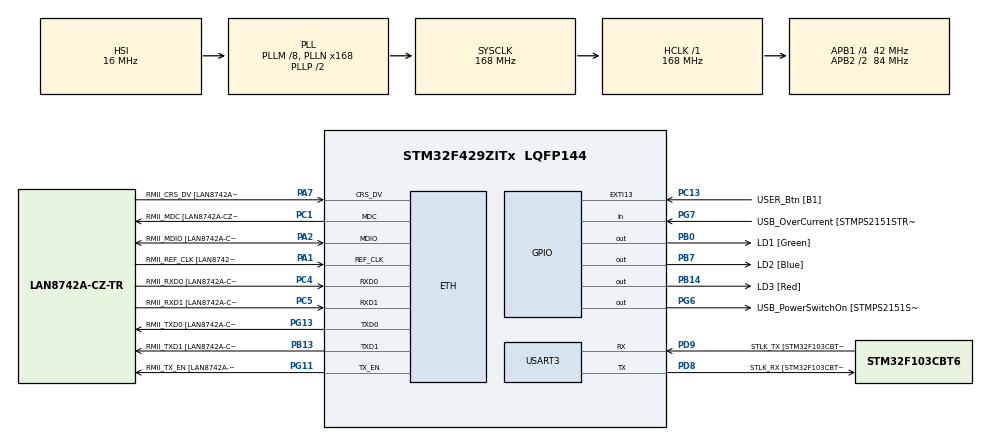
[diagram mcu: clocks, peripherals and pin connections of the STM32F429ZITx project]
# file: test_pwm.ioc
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ETH.MediaInterface=HAL_ETH_RMII_MODE
ETH.PHY_Name=LAN8742A_PHY_ADDRESS
ETH.PHY_Value=0
ETH.PhyAddress=0
Mcu.Family=STM32F4
Mcu.Name=STM32F429ZITx
Mcu.Package=LQFP144
NVIC.PriorityGroup=NVIC_PRIORITYGROUP_4
PA1.GPIO_Label=RMII_REF_CLK [LAN8742A-CZ-TR_REFCLK0]
PA1.Mode=RMII
PA1.Signal=ETH_REF_CLK
PA10.GPIO_Label=USB_ID
PA10.Signal=USB_OTG_FS_ID
PA11.GPIO_Label=USB_DM
PA11.Signal=USB_OTG_FS_DM
PA12.GPIO_Label=USB_DP
PA12.Signal=USB_OTG_FS_DP
PA13.GPIO_Label=TMS
PA13.Mode=Serial_Wire
PA13.Signal=SYS_JTMS-SWDIO
PA14.GPIO_Label=TCK
PA14.Mode=Serial_Wire
PA14.Signal=SYS_JTCK-SWCLK
PA2.GPIO_Label=RMII_MDIO [LAN8742A-CZ-TR_MDIO]
PA2.Mode=RMII
PA2.Signal=ETH_MDIO
PA7.GPIO_Label=RMII_CRS_DV [LAN8742A-CZ-TR_CRS_DV]
PA7.Mode=RMII
PA7.Signal=ETH_CRS_DV
PA8.GPIO_Label=USB_SOF [TP1]
PA8.Signal=USB_OTG_FS_SOF
PA9.GPIO_Label=USB_VBUS
PA9.Signal=USB_OTG_FS_VBUS
PB0.GPIO_Label=LD1 [Green]
PB0.Signal=GPIO_Output
PB13.GPIO_Label=RMII_TXD1 [LAN8742A-CZ-TR_TXD1]
PB13.Mode=RMII
PB13.Signal=ETH_TXD1
PB14.GPIO_Label=LD3 [Red]
PB14.Signal=GPIO_Output
PB7.GPIO_Label=LD2 [Blue]
PB7.Signal=GPIO_Output
PC1.GPIO_Label=RMII_MDC [LAN8742A-CZ-TR_MDC]
PC1.Mode=RMII
PC1.Signal=ETH_MDC
PC13.GPIO_Label=USER_Btn [B1]
PC13.Signal=GPXTI13
PC14/OSC32_IN.Mode=LSE-External-Oscillator
PC14/OSC32_IN.Signal=RCC_OSC32_IN
PC15/OSC32_OUT.Mode=LSE-External-Oscillator
PC15/OSC32_OUT.Signal=RCC_OSC32_OUT
PC4.GPIO_Label=RMII_RXD0 [LAN8742A-CZ-TR_RXD0]
PC4.Mode=RMII
PC4.Signal=ETH_RXD0
PC5.GPIO_Label=RMII_RXD1 [LAN8742A-CZ-TR_RXD1]
PC5.Mode=RMII
PC5.Signal=ETH_RXD1
PD8.GPIO_Label=STLK_RX [STM32F103CBT6_PA3]
PD8.Mode=Asynchronous
PD8.Signal=USART3_TX
PD9.GPIO_Label=STLK_TX [STM32F103CBT6_PA2]
PD9.Mode=Asynchronous
PD9.Signal=USART3_RX
PG11.GPIO_Label=RMII_TX_EN [LAN8742A-CZ-TR_TXEN]
PG11.Mode=RMII
PG11.Signal=ETH_TX_EN
PG13.GPIO_Label=RMII_TXD0 [LAN8742A-CZ-TR_TXD0]
PG13.Mode=RMII
PG13.Signal=ETH_TXD0
PG6.GPIO_Label=USB_PowerSwitchOn [STMPS2151STR_EN]
PG6.Signal=GPIO_Output
PG7.GPIO_Label=USB_OverCurrent [STMPS2151STR_FAULT]
PG7.Signal=GPIO_Input
PH0/OSC_IN.GPIO_Label=MCO [STM32F103CBT6_PA8]
PH0/OSC_IN.Mode=HSE-External-Clock-Source
PH0/OSC_IN.Signal=RCC_OSC_IN
PH1/OSC_OUT.Mode=HSE-External-Clock-Source
PH1/OSC_OUT.Signal=RCC_OSC_OUT
ProjectManager.HeapSize=0x200
ProjectManager.StackSize=0x400
ProjectManager.TargetToolchain=STM32CubeIDE
RCC.48MHZClocksFreq_Value=48000000
RCC.AHBFreq_Value=168000000
RCC.APB1CLKDivider=RCC_HCLK_DIV4
RCC.APB1Freq_Value=42000000
RCC.APB1TimFreq_Value=84000000
RCC.APB2CLKDivider=RCC_HCLK_DIV2
RCC.APB2Freq_Value=84000000
RCC.APB2TimCLKDivider=2
RCC.APB2TimFreq_Value=168000000
RCC.CortexFreq_Value=168000000
RCC.HCLKFreq_Value=168000000
RCC.HSE_VALUE=8000000
RCC.HSI_VALUE=16000000
RCC.PLLM=8
RCC.PLLMUL=RCC_PLL_MUL9
RCC.PLLN=168
RCC.PLLQ=7
RCC.PRESCALERUSB=RCC_USBCLKSOURCE_PLL_DIV1_5
RCC.SYSCLKFreq_VALUE=168000000
RCC.SYSCLKSource=RCC_SYSCLKSOURCE_PLLCLK
RCC.SYSCLKSourceVirtual=RCC_SYSCLKSOURCE_PLLCLK
RCC.USBFreq_Value=48000000
RCC.VCOOutputFreq_Value=336000000
USART3.VirtualMode=VM_ASYNC
board=NUCLEO-F429ZI

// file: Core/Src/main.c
/* USER CODE BEGIN Header */
/**
  ******************************************************************************
  * @file           : main.c
  * @brief          : Main program body
  ******************************************************************************
  * @attention
  *
  * Copyright (c) 2026 STMicroelectronics.
  * All rights reserved.
  *
  * This software is licensed under terms that can be found in the LICENSE file
  * in the root directory of this software component.
  * If no LICENSE file comes with this software, it is provided AS-IS.
  *
  ******************************************************************************
  */
/* USER CODE END Header */
#include "main.h"
#include "string.h"
#include "uart.h"

ETH_TxPacketConfig TxConfig;
ETH_DMADescTypeDef  DMARxDscrTab[ETH_RX_DESC_CNT]; /* Ethernet Rx DMA Descriptors */
ETH_DMADescTypeDef  DMATxDscrTab[ETH_TX_DESC_CNT]; /* Ethernet Tx DMA Descriptors */

ETH_HandleTypeDef heth;

UART_HandleTypeDef huart3;

void SystemClock_Config(void);
static void MX_GPIO_Init(void);
static void MX_ETH_Init(void);
static void MX_USART3_UART_Init(void);

/* USER CODE BEGIN 0 */
// GPIO: PB15
void Fan_GPIO_Init(void)
{
    // GPIOB clock enable
    RCC->AHB1ENR |= RCC_AHB1ENR_GPIOBEN;

    // PB15 output mode
    GPIOB->MODER &= ~(0x3 << (15 * 2));
    GPIOB->MODER |=  (0x1 << (15 * 2));

    // push-pull
    GPIOB->OTYPER &= ~(1 << 15);
}

// PWM GPIO: PA3 (TIM9_CH2)
void Fan_PWM_GPIO_Init(void)
{
    RCC->AHB1ENR |= RCC_AHB1ENR_GPIOAEN;

    // PA3 AF mode
    GPIOA->MODER &= ~(0x3 << (3 * 2));
    GPIOA->MODER |=  (0x2 << (3 * 2));

    // AF3 = TIM9
    GPIOA->AFR[0] &= ~(0xF << (3 * 4));
    GPIOA->AFR[0] |=  (0x3 << (3 * 4));
}

// TIM9 PWM INIT (CH2)
void Fan_PWM_Init(void)
{
    RCC->APB2ENR |= RCC_APB2ENR_TIM9EN;

    TIM9->CR1 &= ~TIM_CR1_CEN;

    TIM9->PSC = 84 - 1;   // 타이머 입력 168MHz -> 2kHz로 만듦
    TIM9->ARR = 1000 - 1;    // 0~1000 duty

    TIM9->CNT = 0;

    // CH2 PWM mode
    TIM9->CCMR1 &= ~(TIM_CCMR1_CC2S);
    TIM9->CCMR1 &= ~(0x7 << 12);
    TIM9->CCMR1 |=  (0x6 << 12);  // PWM mode 1

    TIM9->CCMR1 |= TIM_CCMR1_OC2PE;

    // polarity
    TIM9->CCER &= ~TIM_CCER_CC2P;

    // enable output
    TIM9->CCER |= TIM_CCER_CC2E;

    TIM9->EGR |= TIM_EGR_UG;

    TIM9->CR1 |= TIM_CR1_CEN;
}

// INIT ALL
void Fan_Init(void)
{
    Fan_GPIO_Init();
    Fan_PWM_GPIO_Init();
    Fan_PWM_Init();

    // direction default
    GPIOB->BSRR = (1 << (15 + 16)); // PB15 = 0
}

// SPEED CONTROL
void Fan_SetDuty(uint16_t duty)
{
        static uint32_t prev_tick = 0;

        if (duty > 1000)
            duty = 1000;

        TIM9->CCR2 = duty;

        if (HAL_GetTick() - prev_tick >= 1000)
        {
            prev_tick = HAL_GetTick();

            UART3_Printf("[Fan]     PWM = %3d%%\r\n", duty * 100 / 1000);
        }
}

// OPTIONAL CONTROL
void Fan_On(void)
{
    TIM9->CCR2 = 1000;  // Fan_SetDuty(1000);
    GPIOB->BSRR = (1 << 15); // PB15 = High -> 따로 추가됨
}

void Fan_Off(void)
{
    TIM9->CCR2 = 0;  // Fan_SetDuty(0);
    GPIOB->BSRR = (1 << (15 + 16));  // PB15 = LOW
}
/* USER CODE END 0 */

int main(void)
{

  /* MCU Configuration--------------------------------------------------------*/

  /* Reset of all peripherals, Initializes the Flash interface and the Systick. */
  HAL_Init();

  /* Configure the system clock */
  SystemClock_Config();

  /* Initialize all configured peripherals */
  MX_GPIO_Init();
  MX_ETH_Init();
  MX_USART3_UART_Init();
  /* USER CODE BEGIN 2 */
  Fan_Init();
  Fan_SetDuty(500);
  /* USER CODE END 2 */

  /* Infinite loop */
  while (1)
  {

  }
}

void SystemClock_Config(void)
{
  RCC_OscInitTypeDef RCC_OscInitStruct = {0};
  RCC_ClkInitTypeDef RCC_ClkInitStruct = {0};

  /** Configure the main internal regulator output voltage
  */
  __HAL_RCC_PWR_CLK_ENABLE();
  __HAL_PWR_VOLTAGESCALING_CONFIG(PWR_REGULATOR_VOLTAGE_SCALE1);

  /** Initializes the RCC Oscillators according to the specified parameters
  * in the RCC_OscInitTypeDef structure.
  */
  RCC_OscInitStruct.OscillatorType = RCC_OSCILLATORTYPE_HSI;
  RCC_OscInitStruct.HSIState = RCC_HSI_ON;
  RCC_OscInitStruct.HSICalibrationValue = RCC_HSICALIBRATION_DEFAULT;
  RCC_OscInitStruct.PLL.PLLState = RCC_PLL_ON;
  RCC_OscInitStruct.PLL.PLLSource = RCC_PLLSOURCE_HSI;
  RCC_OscInitStruct.PLL.PLLM = 8;
  RCC_OscInitStruct.PLL.PLLN = 168;
  RCC_OscInitStruct.PLL.PLLP = RCC_PLLP_DIV2;
  RCC_OscInitStruct.PLL.PLLQ = 7;
  if (HAL_RCC_OscConfig(&RCC_OscInitStruct) != HAL_OK)
  {
    Error_Handler();
  }

  /** Initializes the CPU, AHB and APB buses clocks
  */
  RCC_ClkInitStruct.ClockType = RCC_CLOCKTYPE_HCLK|RCC_CLOCKTYPE_SYSCLK
                              |RCC_CLOCKTYPE_PCLK1|RCC_CLOCKTYPE_PCLK2;
  RCC_ClkInitStruct.SYSCLKSource = RCC_SYSCLKSOURCE_PLLCLK;
  RCC_ClkInitStruct.AHBCLKDivider = RCC_SYSCLK_DIV1;
  RCC_ClkInitStruct.APB1CLKDivider = RCC_HCLK_DIV4;
  RCC_ClkInitStruct.APB2CLKDivider = RCC_HCLK_DIV2;

  if (HAL_RCC_ClockConfig(&RCC_ClkInitStruct, FLASH_LATENCY_5) != HAL_OK)
  {
    Error_Handler();
  }
}

static void MX_ETH_Init(void)
{

   static uint8_t MACAddr[6];

  heth.Instance = ETH;
  MACAddr[0] = 0x00;
  MACAddr[1] = 0x80;
  MACAddr[2] = 0xE1;
  MACAddr[3] = 0x00;
  MACAddr[4] = 0x00;
  MACAddr[5] = 0x00;
  heth.Init.MACAddr = &MACAddr[0];
  heth.Init.MediaInterface = HAL_ETH_RMII_MODE;
  heth.Init.TxDesc = DMATxDscrTab;
  heth.Init.RxDesc = DMARxDscrTab;
  heth.Init.RxBuffLen = 1524;

  if (HAL_ETH_Init(&heth) != HAL_OK)
  {
    Error_Handler();
  }

  memset(&TxConfig, 0 , sizeof(ETH_TxPacketConfig));
  TxConfig.Attributes = ETH_TX_PACKETS_FEATURES_CSUM | ETH_TX_PACKETS_FEATURES_CRCPAD;
  TxConfig.ChecksumCtrl = ETH_CHECKSUM_IPHDR_PAYLOAD_INSERT_PHDR_CALC;
  TxConfig.CRCPadCtrl = ETH_CRC_PAD_INSERT;

}

static void MX_USART3_UART_Init(void)
{

  huart3.Instance = USART3;
  huart3.Init.BaudRate = 115200;
  huart3.Init.WordLength = UART_WORDLENGTH_8B;
  huart3.Init.StopBits = UART_STOPBITS_1;
  huart3.Init.Parity = UART_PARITY_NONE;
  huart3.Init.Mode = UART_MODE_TX_RX;
  huart3.Init.HwFlowCtl = UART_HWCONTROL_NONE;
  huart3.Init.OverSampling = UART_OVERSAMPLING_16;
  if (HAL_UART_Init(&huart3) != HAL_OK)
  {
    Error_Handler();
  }

}

static void MX_GPIO_Init(void)
{
  GPIO_InitTypeDef GPIO_InitStruct = {0};

  /* GPIO Ports Clock Enable */
  __HAL_RCC_GPIOC_CLK_ENABLE();
  __HAL_RCC_GPIOH_CLK_ENABLE();
  __HAL_RCC_GPIOA_CLK_ENABLE();
  __HAL_RCC_GPIOB_CLK_ENABLE();
  __HAL_RCC_GPIOD_CLK_ENABLE();
  __HAL_RCC_GPIOG_CLK_ENABLE();

  /*Configure GPIO pin Output Level */
  HAL_GPIO_WritePin(GPIOB, LD1_Pin|LD3_Pin|LD2_Pin, GPIO_PIN_RESET);

  /*Configure GPIO pin Output Level */
  HAL_GPIO_WritePin(USB_PowerSwitchOn_GPIO_Port, USB_PowerSwitchOn_Pin, GPIO_PIN_RESET);

  /*Configure GPIO pin : USER_Btn_Pin */
  GPIO_InitStruct.Pin = USER_Btn_Pin;
  GPIO_InitStruct.Mode = GPIO_MODE_IT_RISING;
  GPIO_InitStruct.Pull = GPIO_NOPULL;
  HAL_GPIO_Init(USER_Btn_GPIO_Port, &GPIO_InitStruct);

  /*Configure GPIO pins : LD1_Pin LD3_Pin LD2_Pin */
  GPIO_InitStruct.Pin = LD1_Pin|LD3_Pin|LD2_Pin;
  GPIO_InitStruct.Mode = GPIO_MODE_OUTPUT_PP;
  GPIO_InitStruct.Pull = GPIO_NOPULL;
  GPIO_InitStruct.Speed = GPIO_SPEED_FREQ_LOW;
  HAL_GPIO_Init(GPIOB, &GPIO_InitStruct);

  /*Configure GPIO pin : USB_PowerSwitchOn_Pin */
  GPIO_InitStruct.Pin = USB_PowerSwitchOn_Pin;
  GPIO_InitStruct.Mode = GPIO_MODE_OUTPUT_PP;
  GPIO_InitStruct.Pull = GPIO_NOPULL;
  GPIO_InitStruct.Speed = GPIO_SPEED_FREQ_LOW;
  HAL_GPIO_Init(USB_PowerSwitchOn_GPIO_Port, &GPIO_InitStruct);

  /*Configure GPIO pin : USB_OverCurrent_Pin */
  GPIO_InitStruct.Pin = USB_OverCurrent_Pin;
  GPIO_InitStruct.Mode = GPIO_MODE_INPUT;
  GPIO_InitStruct.Pull = GPIO_NOPULL;
  HAL_GPIO_Init(USB_OverCurrent_GPIO_Port, &GPIO_InitStruct);

  /*Configure GPIO pins : USB_SOF_Pin USB_ID_Pin USB_DM_Pin USB_DP_Pin */
  GPIO_InitStruct.Pin = USB_SOF_Pin|USB_ID_Pin|USB_DM_Pin|USB_DP_Pin;
  GPIO_InitStruct.Mode = GPIO_MODE_AF_PP;
  GPIO_InitStruct.Pull = GPIO_NOPULL;
  GPIO_InitStruct.Speed = GPIO_SPEED_FREQ_VERY_HIGH;
  GPIO_InitStruct.Alternate = GPIO_AF10_OTG_FS;
  HAL_GPIO_Init(GPIOA, &GPIO_InitStruct);

  /*Configure GPIO pin : USB_VBUS_Pin */
  GPIO_InitStruct.Pin = USB_VBUS_Pin;
  GPIO_InitStruct.Mode = GPIO_MODE_INPUT;
  GPIO_InitStruct.Pull = GPIO_NOPULL;
  HAL_GPIO_Init(USB_VBUS_GPIO_Port, &GPIO_InitStruct);

}

void Error_Handler(void)
{
  __disable_irq();
  while (1)
  {
  }
}
